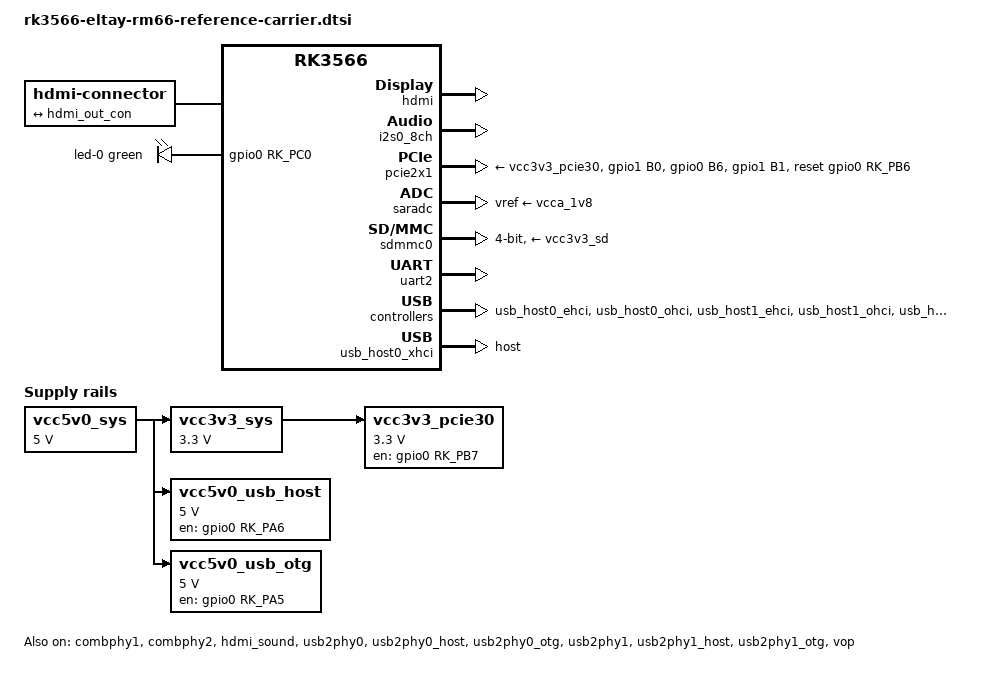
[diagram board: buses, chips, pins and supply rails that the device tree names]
// SPDX-License-Identifier: (GPL-2.0+ OR MIT)

/*
 * Reference carrier composition for ELTAY RM66.
 * Include after rk3566-eltay-rm66.dtsi.
 *
 * Defines peripherals for ELTAY RM66 on reference carrier board (BB CM4):
 * HDMI, USB, Gigabit Ethernet, SD card, PCIe, LEDs, and status regulators.
 */

#include <dt-bindings/leds/common.h>
#include <dt-bindings/soc/rockchip,vop2.h>

/ {
	aliases {
		mmc1 = &sdmmc0;
	};

	chosen {
		stdout-path = "serial2:1500000n8";
	};

	hdmi-con {
		compatible = "hdmi-connector";
		type = "a";

		port {
			hdmi_con_in: endpoint {
				remote-endpoint = <&hdmi_out_con>;
			};
		};
	};

	leds {
		compatible = "gpio-leds";
		pinctrl-names = "default";
		pinctrl-0 = <&work_led>;

		led-0 {
			color = <LED_COLOR_ID_GREEN>;
			default-state = "on";
			function = LED_FUNCTION_HEARTBEAT;
			gpios = <&gpio0 RK_PC0 GPIO_ACTIVE_HIGH>;
			linux,default-trigger = "heartbeat";
		};
	};

	vcc3v3_pcie30: regulator-3v3-vcc-pcie30 {
		compatible = "regulator-fixed";
		enable-active-high;
		gpios = <&gpio0 RK_PB7 GPIO_ACTIVE_HIGH>;
		pinctrl-names = "default";
		pinctrl-0 = <&pcie20_pwren>;
		regulator-name = "vcc3v3_pcie30";
		regulator-min-microvolt = <3300000>;
		regulator-max-microvolt = <3300000>;
		vin-supply = <&vcc3v3_sys>;
	};

	vcc3v3_sys: regulator-3v3-vcc-sys {
		compatible = "regulator-fixed";
		regulator-name = "vcc3v3_sys";
		regulator-always-on;
		regulator-boot-on;
		regulator-min-microvolt = <3300000>;
		regulator-max-microvolt = <3300000>;
		vin-supply = <&vcc5v0_sys>;
	};

	vcc5v0_sys: regulator-5v0-vcc-sys {
		compatible = "regulator-fixed";
		regulator-name = "vcc5v0_sys";
		regulator-always-on;
		regulator-boot-on;
		regulator-min-microvolt = <5000000>;
		regulator-max-microvolt = <5000000>;
	};

	vcc5v0_usb_host: regulator-5v0-vcc-usb-host {
		compatible = "regulator-fixed";
		enable-active-high;
		gpios = <&gpio0 RK_PA6 GPIO_ACTIVE_HIGH>;
		pinctrl-names = "default";
		pinctrl-0 = <&usb_host_pwren_h>;
		regulator-name = "vcc5v0_usb_host";
		regulator-min-microvolt = <5000000>;
		regulator-max-microvolt = <5000000>;
		vin-supply = <&vcc5v0_sys>;
	};

	vcc5v0_usb_otg: regulator-5v0-vcc-usb-otg {
		compatible = "regulator-fixed";
		enable-active-high;
		gpios = <&gpio0 RK_PA5 GPIO_ACTIVE_HIGH>;
		pinctrl-names = "default";
		pinctrl-0 = <&usb_otg_pwren_h>;
		regulator-name = "vcc5v0_usb_otg";
		regulator-min-microvolt = <5000000>;
		regulator-max-microvolt = <5000000>;
		vin-supply = <&vcc5v0_sys>;
	};
};

&combphy1 {
	status = "okay";
};

&combphy2 {
	status = "okay";
};

&hdmi {
	avdd-0v9-supply = <&vdda0v9_image>;
	avdd-1v8-supply = <&vcca1v8_image>;
	status = "okay";
};

&hdmi_in {
	hdmi_in_vp0: endpoint {
		remote-endpoint = <&vp0_out_hdmi>;
	};
};

&hdmi_out {
	hdmi_out_con: endpoint {
		remote-endpoint = <&hdmi_con_in>;
	};
};

&hdmi_sound {
	status = "okay";
};

&i2s0_8ch {
	status = "okay";
};

&pcie2x1 {
	pinctrl-names = "default";
	pinctrl-0 = <&pcie20_pins>;
	reset-gpios = <&gpio0 RK_PB6 GPIO_ACTIVE_HIGH>;
	vpcie3v3-supply = <&vcc3v3_pcie30>;
	status = "okay";
};

&saradc {
	vref-supply = <&vcca_1v8>;
	status = "okay";
};

&sdmmc0 {
	bus-width = <4>;
	cap-sd-highspeed;
	disable-wp;
	pinctrl-names = "default";
	pinctrl-0 = <&sdmmc0_bus4 &sdmmc0_clk &sdmmc0_cmd &sdmmc0_det>;
	vmmc-supply = <&vcc3v3_sd>;
	vqmmc-supply = <&vccio_sd>;
	status = "okay";
};

&uart2 {
	status = "okay";
};

&usb_host0_ehci {
	status = "okay";
};

&usb_host0_ohci {
	status = "okay";
};

&usb_host0_xhci {
	dr_mode = "host";
	status = "okay";
};

&usb_host1_ehci {
	status = "okay";
};

&usb_host1_ohci {
	status = "okay";
};

&usb_host1_xhci {
	status = "okay";
};

&usb2phy0 {
	status = "okay";
};

&usb2phy0_host {
	phy-supply = <&vcc5v0_usb_host>;
	status = "okay";
};

&usb2phy0_otg {
	phy-supply = <&vcc5v0_usb_otg>;
	status = "okay";
};

&usb2phy1 {
	status = "okay";
};

&usb2phy1_host {
	phy-supply = <&vcc5v0_usb_host>;
	status = "okay";
};

&usb2phy1_otg {
	phy-supply = <&vcc5v0_usb_host>;
	status = "okay";
};

&vop {
	assigned-clocks = <&cru DCLK_VOP0>, <&cru DCLK_VOP1>;
	assigned-clock-parents = <&pmucru PLL_HPLL>, <&cru PLL_VPLL>;
	status = "okay";
};

&vop_mmu {
	status = "okay";
};

&vp0 {
	vp0_out_hdmi: endpoint@ROCKCHIP_VOP2_EP_HDMI0 {
		reg = <ROCKCHIP_VOP2_EP_HDMI0>;
		remote-endpoint = <&hdmi_in_vp0>;
	};
};

&pinctrl {
	leds {
		work_led: work-led {
			rockchip,pins = <0 RK_PC0 RK_FUNC_GPIO &pcfg_pull_none>;
		};
	};

	pcie {
		pcie20_pins: pcie20-pins {
			rockchip,pins =
				<1 RK_PB0 4 &pcfg_pull_none>,
				<0 RK_PB6 RK_FUNC_GPIO &pcfg_pull_none>,
				<1 RK_PB1 4 &pcfg_pull_none>;
		};

		pcie20_pwren: pcie20-pwren {
			rockchip,pins = <0 RK_PB7 RK_FUNC_GPIO &pcfg_pull_none>;
		};
	};

	usb {
		usb_host_pwren_h: usb-host-pwren-h {
			rockchip,pins = <0 RK_PA6 RK_FUNC_GPIO &pcfg_pull_none>;
		};

		usb_otg_pwren_h: usb-otg-pwren-h {
			rockchip,pins = <0 RK_PA5 RK_FUNC_GPIO &pcfg_pull_none>;
		};
	};
};

/* Power entering the module from the reference system supply. */
&rk809 {
	vcc1-supply = <&vcc3v3_sys>;
	vcc2-supply = <&vcc3v3_sys>;
	vcc3-supply = <&vcc3v3_sys>;
	vcc4-supply = <&vcc3v3_sys>;
	vcc5-supply = <&vcc3v3_sys>;
	vcc6-supply = <&vcc3v3_sys>;
	vcc7-supply = <&vcc3v3_sys>;
	vcc8-supply = <&vcc3v3_sys>;
	vcc9-supply = <&vcc3v3_sys>;
};

&vdd_cpu {
	vin-supply = <&vcc3v3_sys>;
};
